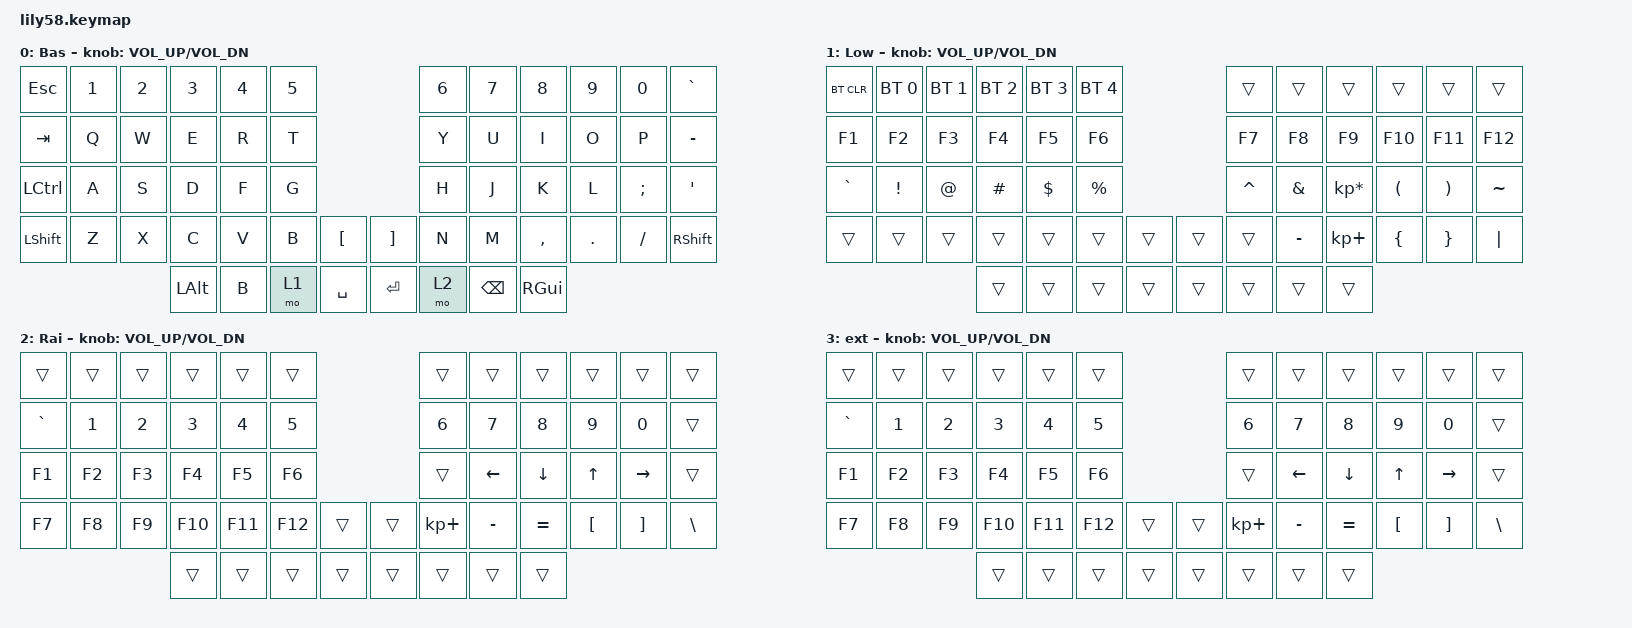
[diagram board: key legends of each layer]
#include "lily58.dtsi"
#include <behaviors.dtsi>
#include <dt-bindings/zmk/bt.h>
#include <dt-bindings/zmk/ext_power.h>
#include <dt-bindings/zmk/keys.h>

/ {
    keymap {
        compatible = "zmk,keymap";

        default_layer {
            // ------------------------------------------------------------------------------------------------------------
            // |  ESC  |  1  |  2  |  3   |  4   |  5   |                   |  6   |  7    |  8    |  9   |   0   |   `   |
            // |  TAB  |  Q  |  W  |  E   |  R   |  T   |                   |  Y   |  U    |  I    |  O   |   P   |   -   |
            // |  CTRL |  A  |  S  |  D   |  F   |  G   |                   |  H   |  J    |  K    |  L   |   ;   |   '   |
            // | SHIFT |  Z  |  X  |  C   |  V   |  B   |   "["  |  |  "]"  |  N   |  M    |  ,    |  .   |   /   | SHIFT |
            //                     | ALT  | GUI  | LOWER|  SPACE |  | ENTER | RAISE| BSPC  | GUI   |

            display-name = "Bas";
            bindings = <
&kp ESC    &kp N1  &kp N2  &kp N3    &kp N4  &kp N5                         &kp N6  &kp N7    &kp N8     &kp N9   &kp N0    &kp GRAVE
&kp TAB    &kp Q   &kp W   &kp E     &kp R   &kp T                          &kp Y   &kp U     &kp I      &kp O    &kp P     &kp MINUS
&kp LCTRL  &kp A   &kp S   &kp D     &kp F   &kp G                          &kp H   &kp J     &kp K      &kp L    &kp SEMI  &kp SQT
&kp LSHFT  &kp Z   &kp X   &kp C     &kp V   &kp B   &kp LBKT     &kp RBKT  &kp N   &kp M     &kp COMMA  &kp DOT  &kp FSLH  &kp RSHFT
                           &kp LALT  &kp B   &mo 1   &kp SPACE    &kp RET   &mo 2   &kp BSPC  &kp RGUI
            >;

            sensor-bindings = <&inc_dec_kp C_VOL_UP C_VOL_DN>;
        };

        lower_layer {
            // ------------------------------------------------------------------------------------------------------------
            // | BTCLR | BT1 | BT2 |  BT3 |  BT4 |  BT5 |                   |      |       |       |      |       |       |
            // |  F1   |  F2 |  F3 |  F4  |  F5  |  F6  |                   |  F7  |  F8   |  F9   |  F10 |  F11  |  F12  |
            // |   `   |  !  |  @  |  #   |  $   |  %   |                   |  ^   |  &    |  *    |  (   |   )   |   ~   |
            // |       |     |     |      |      |      |        |  |       |      |  _    |  +    |  {   |   }   |  "|"  |
            //                     |      |      |      |        |  |       |      |       |       |

            display-name = "Low";
            bindings = <
&bt BT_CLR  &bt BT_SEL 0  &bt BT_SEL 1  &bt BT_SEL 2  &bt BT_SEL 3  &bt BT_SEL 4                    &trans     &trans     &trans           &trans    &trans    &trans
&kp F1      &kp F2        &kp F3        &kp F4        &kp F5        &kp F6                          &kp F7     &kp F8     &kp F9           &kp F10   &kp F11   &kp F12
&kp GRAVE   &kp EXCL      &kp AT        &kp HASH      &kp DOLLAR    &kp PRCNT                       &kp CARET  &kp AMPS   &kp KP_MULTIPLY  &kp LPAR  &kp RPAR  &kp TILDE
&trans      &trans        &trans        &trans        &trans        &trans        &trans    &trans  &trans     &kp MINUS  &kp KP_PLUS      &kp LBRC  &kp RBRC  &kp PIPE
                                        &trans        &trans        &trans        &trans    &trans  &trans     &trans     &trans
            >;

            sensor-bindings = <&inc_dec_kp C_VOL_UP C_VOL_DN>;
        };

        raise_layer {
            // ------------------------------------------------------------------------------------------------------------
            // |       |     |     |      |      |      |                   |      |       |       |      |       |       |
            // |   `   |  1  |  2  |  3   |  4   |  5   |                   |  6   |   7   |   8   |  9   |   0   |       |
            // |   F1  |  F2 |  F3 |  F4  |  F5  |  F6  |                   |      |   <-  |   v   |  ^   |  ->   |       |
            // |   F7  |  F8 |  F9 |  F10 |  F11 |  F12 |        |  |       |  +   |   -   |   =   |  [   |   ]   |   \   |
            //                     |      |      |      |        |  |       |      |       |       |

            display-name = "Rai";
            bindings = <
&trans     &trans  &trans  &trans   &trans   &trans                     &trans       &trans     &trans     &trans    &trans     &trans
&kp GRAVE  &kp N1  &kp N2  &kp N3   &kp N4   &kp N5                     &kp N6       &kp N7     &kp N8     &kp N9    &kp N0     &trans
&kp F1     &kp F2  &kp F3  &kp F4   &kp F5   &kp F6                     &trans       &kp LEFT   &kp DOWN   &kp UP    &kp RIGHT  &trans
&kp F7     &kp F8  &kp F9  &kp F10  &kp F11  &kp F12  &trans    &trans  &kp KP_PLUS  &kp MINUS  &kp EQUAL  &kp LBKT  &kp RBKT   &kp BSLH
                           &trans   &trans   &trans   &trans    &trans  &trans       &trans     &trans
            >;

            sensor-bindings = <&inc_dec_kp C_VOL_UP C_VOL_DN>;
        };

        extra_1 {
            // ------------------------------------------------------------------------------------------------------------
            // |       |     |     |      |      |      |                   |      |       |       |      |       |       |
            // |   `   |  1  |  2  |  3   |  4   |  5   |                   |  6   |   7   |   8   |  9   |   0   |       |
            // |   F1  |  F2 |  F3 |  F4  |  F5  |  F6  |                   |      |   <-  |   v   |  ^   |  ->   |       |
            // |   F7  |  F8 |  F9 |  F10 |  F11 |  F12 |        |  |       |  +   |   -   |   =   |  [   |   ]   |   \   |
            //                     |      |      |      |        |  |       |      |       |       |

            display-name = "ext";
            bindings = <
&trans     &trans  &trans  &trans   &trans   &trans                     &trans       &trans     &trans     &trans    &trans     &trans
&kp GRAVE  &kp N1  &kp N2  &kp N3   &kp N4   &kp N5                     &kp N6       &kp N7     &kp N8     &kp N9    &kp N0     &trans
&kp F1     &kp F2  &kp F3  &kp F4   &kp F5   &kp F6                     &trans       &kp LEFT   &kp DOWN   &kp UP    &kp RIGHT  &trans
&kp F7     &kp F8  &kp F9  &kp F10  &kp F11  &kp F12  &trans    &trans  &kp KP_PLUS  &kp MINUS  &kp EQUAL  &kp LBKT  &kp RBKT   &kp BSLH
                           &trans   &trans   &trans   &trans    &trans  &trans       &trans     &trans
            >;

            sensor-bindings = <&inc_dec_kp C_VOL_UP C_VOL_DN>;
        };

        extra_2 { status = "reserved"; };
    };
};
